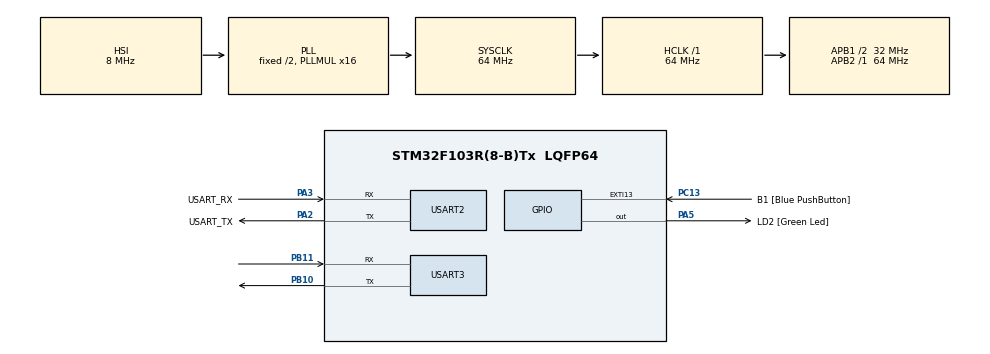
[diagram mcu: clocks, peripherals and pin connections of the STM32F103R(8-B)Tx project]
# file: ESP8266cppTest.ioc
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Mcu.Family=STM32F1
Mcu.Name=STM32F103R(8-B)Tx
Mcu.Package=LQFP64
NVIC.EXTI15_10_IRQn=true\:0\:0\:false\:false\:true\:true\:true\:true
NVIC.PriorityGroup=NVIC_PRIORITYGROUP_4
NVIC.USART3_IRQn=true\:0\:0\:false\:false\:true\:true\:true\:true
PA13.GPIO_Label=TMS
PA13.Mode=Serial_Wire
PA13.Signal=SYS_JTMS-SWDIO
PA14.GPIO_Label=TCK
PA14.Mode=Serial_Wire
PA14.Signal=SYS_JTCK-SWCLK
PA2.GPIO_Label=USART_TX
PA2.GPIO_Mode=GPIO_MODE_AF_PP
PA2.GPIO_PuPd=GPIO_NOPULL
PA2.GPIO_Speed=GPIO_SPEED_FREQ_LOW
PA2.Mode=Asynchronous
PA2.Signal=USART2_TX
PA3.GPIO_Label=USART_RX
PA3.GPIO_Mode=GPIO_MODE_AF_PP
PA3.GPIO_PuPd=GPIO_NOPULL
PA3.GPIO_Speed=GPIO_SPEED_FREQ_LOW
PA3.Mode=Asynchronous
PA3.Signal=USART2_RX
PA5.GPIO_Label=LD2 [Green Led]
PA5.GPIO_ModeDefaultOutputPP=GPIO_MODE_OUTPUT_PP
PA5.GPIO_PuPd=GPIO_NOPULL
PA5.GPIO_Speed=GPIO_SPEED_FREQ_LOW
PA5.Signal=GPIO_Output
PB10.Mode=Asynchronous
PB10.Signal=USART3_TX
PB11.Mode=Asynchronous
PB11.Signal=USART3_RX
PB3.GPIO_Label=SWO
PB3.Signal=SYS_JTDO-TRACESWO
PC13-TAMPER-RTC.GPIO_Label=B1 [Blue PushButton]
PC13-TAMPER-RTC.GPIO_PuPd=GPIO_NOPULL
PC13-TAMPER-RTC.Signal=GPXTI13
PC14-OSC32_IN.Mode=LSE-External-Oscillator
PC14-OSC32_IN.Signal=RCC_OSC32_IN
PC15-OSC32_OUT.Mode=LSE-External-Oscillator
PC15-OSC32_OUT.Signal=RCC_OSC32_OUT
PD0-OSC_IN.Mode=HSE-External-Clock-Source
PD0-OSC_IN.Signal=RCC_OSC_IN
PD1-OSC_OUT.Mode=HSE-External-Clock-Source
PD1-OSC_OUT.Signal=RCC_OSC_OUT
ProjectManager.HeapSize=0x200
ProjectManager.StackSize=0x400
ProjectManager.TargetToolchain=STM32CubeIDE
RCC.AHBFreq_Value=64000000
RCC.APB1CLKDivider=RCC_HCLK_DIV2
RCC.APB1Freq_Value=32000000
RCC.APB1TimFreq_Value=64000000
RCC.APB2Freq_Value=64000000
RCC.APB2TimFreq_Value=64000000
RCC.HCLKFreq_Value=64000000
RCC.PLLMUL=RCC_PLL_MUL16
RCC.RTCClockSelection=RCC_RTCCLKSOURCE_LSE
RCC.SYSCLKFreq_VALUE=64000000
RCC.SYSCLKSource=RCC_SYSCLKSOURCE_PLLCLK
RCC.USBFreq_Value=64000000
USART2.VirtualMode=VM_ASYNC
USART3.VirtualMode=VM_ASYNC
board=NUCLEO-F103RB

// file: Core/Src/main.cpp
/* USER CODE BEGIN Header */
/**
  ******************************************************************************
  * @file           : main.c
  * @brief          : Main program body
  ******************************************************************************
  * @attention
  *
  * Copyright (c) 2024 STMicroelectronics.
  * All rights reserved.
  *
  * This software is licensed under terms that can be found in the LICENSE file
  * in the root directory of this software component.
  * If no LICENSE file comes with this software, it is provided AS-IS.
  *
  ******************************************************************************
  */
/* USER CODE END Header */
#include "main.h"

/* USER CODE BEGIN Includes */
#include <string.h>
#include <stdio.h>
#include "ESP8266.h"
/* USER CODE END Includes */

UART_HandleTypeDef huart2;
UART_HandleTypeDef huart3;

/* USER CODE BEGIN PV */
ESP8266 Wifi;
/* USER CODE END PV */

void SystemClock_Config(void);
static void MX_GPIO_Init(void);
static void MX_USART2_UART_Init(void);
static void MX_USART3_UART_Init(void);
/* USER CODE BEGIN PFP */
void ReplyWifi(uint8_t Conn, uint16_t Length, uint8_t *pBuffer);
/* USER CODE END PFP */

int main(void)
{
  /* USER CODE BEGIN 1 */
	IPSTRUCT Ip;
	uint16_t Length, Port = 15598;
	uint8_t Ret, Conn, FlagConn = 0;
	uint8_t Buffer[QUEUE_SIZE];

	uint8_t SSID[SSID_PW_LENGTH]   = "ssid_name";
	uint8_t PASSWD[SSID_PW_LENGTH] = "ssid_password";
	Ip.ip.longvalue      = 172 +  30 * 256 + (uint32_t)  1 * 256 * 256 + (uint32_t) 99 * 256 * 256 * 256;
	Ip.subnet.longvalue  = 255 + 255 * 256 + (uint32_t)255 * 256 * 256 + (uint32_t)  0 * 256 * 256 * 256;
	Ip.gateway.longvalue = 172 +  30 * 256 + (uint32_t)  1 * 256 * 256 + (uint32_t)254 * 256 * 256 * 256;
  /* USER CODE END 1 */

  /* MCU Configuration--------------------------------------------------------*/

  /* Reset of all peripherals, Initializes the Flash interface and the Systick. */
  HAL_Init();

  /* Configure the system clock */
  SystemClock_Config();

  /* Initialize all configured peripherals */
  MX_GPIO_Init();
  MX_USART2_UART_Init();
  MX_USART3_UART_Init();
  /* USER CODE BEGIN 2 */
  HAL_UART_Receive_IT(&huart3, &Ret, 1);                  // activate interrupt USART3
  Wifi.SetHandle(&huart3);                                    // set Wifi's USART handle
  if(Wifi.SetModeStation() != TRUE) Error_Handler();              // set ESP8266 as station only
  if(Wifi.SetIp(&Ip) != TRUE) Error_Handler();                // set ESP8266's IP
  if(Wifi.Connect(SSID, PASSWD) != TRUE) Error_Handler(); // connect to SSID
  if(Wifi.SetMUX(1) != TRUE) Error_Handler();                     // enable multi connect
  if(Wifi.SetServer(1, Port) != TRUE) Error_Handler();    // set server and port
  /* USER CODE END 2 */

  /* Infinite loop */
  /* USER CODE BEGIN WHILE */
  while (1)
  {
	  if(Wifi.CheckConnect(&Conn) == TRUE)                            // if client succeed to connect
	          FlagConn |= (1 << (Conn - '0'));
	     if(FlagConn && Wifi.CheckClosed(&Conn) == TRUE)             // if connection was lost
	          FlagConn &= ~(1 << (Conn - '0'));
	     if(FlagConn && Wifi.Receive(&Conn, &Length, Buffer) == TRUE) {  // if data received
	          ReplyWifi(Conn, Length, Buffer);                                // reply
	     }
    /* USER CODE END WHILE */

  }
}

void SystemClock_Config(void)
{
  RCC_OscInitTypeDef RCC_OscInitStruct = {0};
  RCC_ClkInitTypeDef RCC_ClkInitStruct = {0};

  /** Initializes the RCC Oscillators according to the specified parameters
  * in the RCC_OscInitTypeDef structure.
  */
  RCC_OscInitStruct.OscillatorType = RCC_OSCILLATORTYPE_HSI;
  RCC_OscInitStruct.HSIState = RCC_HSI_ON;
  RCC_OscInitStruct.HSICalibrationValue = RCC_HSICALIBRATION_DEFAULT;
  RCC_OscInitStruct.PLL.PLLState = RCC_PLL_ON;
  RCC_OscInitStruct.PLL.PLLSource = RCC_PLLSOURCE_HSI_DIV2;
  RCC_OscInitStruct.PLL.PLLMUL = RCC_PLL_MUL16;
  if (HAL_RCC_OscConfig(&RCC_OscInitStruct) != HAL_OK)
  {
    Error_Handler();
  }

  /** Initializes the CPU, AHB and APB buses clocks
  */
  RCC_ClkInitStruct.ClockType = RCC_CLOCKTYPE_HCLK|RCC_CLOCKTYPE_SYSCLK
                              |RCC_CLOCKTYPE_PCLK1|RCC_CLOCKTYPE_PCLK2;
  RCC_ClkInitStruct.SYSCLKSource = RCC_SYSCLKSOURCE_PLLCLK;
  RCC_ClkInitStruct.AHBCLKDivider = RCC_SYSCLK_DIV1;
  RCC_ClkInitStruct.APB1CLKDivider = RCC_HCLK_DIV2;
  RCC_ClkInitStruct.APB2CLKDivider = RCC_HCLK_DIV1;

  if (HAL_RCC_ClockConfig(&RCC_ClkInitStruct, FLASH_LATENCY_2) != HAL_OK)
  {
    Error_Handler();
  }
}

static void MX_USART2_UART_Init(void)
{

  huart2.Instance = USART2;
  huart2.Init.BaudRate = 115200;
  huart2.Init.WordLength = UART_WORDLENGTH_8B;
  huart2.Init.StopBits = UART_STOPBITS_1;
  huart2.Init.Parity = UART_PARITY_NONE;
  huart2.Init.Mode = UART_MODE_TX_RX;
  huart2.Init.HwFlowCtl = UART_HWCONTROL_NONE;
  huart2.Init.OverSampling = UART_OVERSAMPLING_16;
  if (HAL_UART_Init(&huart2) != HAL_OK)
  {
    Error_Handler();
  }

}

static void MX_USART3_UART_Init(void)
{

  huart3.Instance = USART3;
  huart3.Init.BaudRate = 115200;
  huart3.Init.WordLength = UART_WORDLENGTH_8B;
  huart3.Init.StopBits = UART_STOPBITS_1;
  huart3.Init.Parity = UART_PARITY_NONE;
  huart3.Init.Mode = UART_MODE_TX_RX;
  huart3.Init.HwFlowCtl = UART_HWCONTROL_NONE;
  huart3.Init.OverSampling = UART_OVERSAMPLING_16;
  if (HAL_UART_Init(&huart3) != HAL_OK)
  {
    Error_Handler();
  }

}

static void MX_GPIO_Init(void)
{
  GPIO_InitTypeDef GPIO_InitStruct = {0};

  /* GPIO Ports Clock Enable */
  __HAL_RCC_GPIOC_CLK_ENABLE();
  __HAL_RCC_GPIOD_CLK_ENABLE();
  __HAL_RCC_GPIOA_CLK_ENABLE();
  __HAL_RCC_GPIOB_CLK_ENABLE();

  /*Configure GPIO pin Output Level */
  HAL_GPIO_WritePin(LD2_GPIO_Port, LD2_Pin, GPIO_PIN_RESET);

  /*Configure GPIO pin : B1_Pin */
  GPIO_InitStruct.Pin = B1_Pin;
  GPIO_InitStruct.Mode = GPIO_MODE_IT_RISING;
  GPIO_InitStruct.Pull = GPIO_NOPULL;
  HAL_GPIO_Init(B1_GPIO_Port, &GPIO_InitStruct);

  /*Configure GPIO pin : LD2_Pin */
  GPIO_InitStruct.Pin = LD2_Pin;
  GPIO_InitStruct.Mode = GPIO_MODE_OUTPUT_PP;
  GPIO_InitStruct.Pull = GPIO_NOPULL;
  GPIO_InitStruct.Speed = GPIO_SPEED_FREQ_LOW;
  HAL_GPIO_Init(LD2_GPIO_Port, &GPIO_InitStruct);

  /* EXTI interrupt init*/
  HAL_NVIC_SetPriority(EXTI15_10_IRQn, 0, 0);
  HAL_NVIC_EnableIRQ(EXTI15_10_IRQn);

}

/* USER CODE BEGIN 4 */
void ReplyWifi(uint8_t Conn, uint16_t Length, uint8_t *pBuffer)
{
        uint8_t imsiBuff[1024];

        *(pBuffer + Length) = 0;
        sprintf((char *)imsiBuff, "From Server: %s", pBuffer);
        Wifi.Send(Conn, strlen((char *)imsiBuff), imsiBuff);
}
/* USER CODE END 4 */

void Error_Handler(void)
{
  __disable_irq();
  while (1)
  {
  }
}
